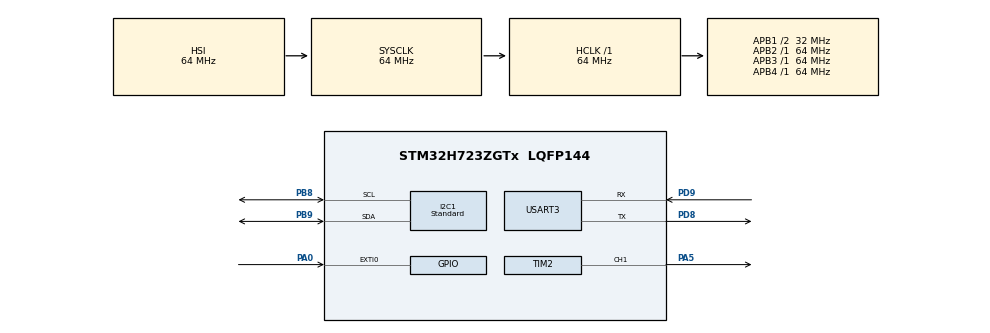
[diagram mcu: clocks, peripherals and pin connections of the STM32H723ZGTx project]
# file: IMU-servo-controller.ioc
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CORTEX_M7.default_mode_Activation=1
I2C1.I2C_Speed_Mode=I2C_Standard
I2C1.Timing=0x00707CBB
Mcu.Family=STM32H7
Mcu.Name=STM32H723ZGTx
Mcu.Package=LQFP144
NVIC.I2C1_ER_IRQn=true\:0\:0\:false\:false\:true\:true\:true\:true
NVIC.I2C1_EV_IRQn=true\:0\:0\:false\:false\:true\:true\:true\:true
NVIC.PriorityGroup=NVIC_PRIORITYGROUP_4
PA0.GPIO_ModeDefaultEXTI=GPIO_MODE_IT_FALLING
PA0.GPIO_PuPd=GPIO_PULLUP
PA0.Signal=GPXTI0
PA5.Signal=S_TIM2_CH1_ETR
PB8.GPIO_Pu=GPIO_PULLUP
PB8.GPIO_Speed=GPIO_SPEED_FREQ_VERY_HIGH
PB8.Mode=I2C
PB8.Signal=I2C1_SCL
PB9.GPIO_Pu=GPIO_PULLUP
PB9.GPIO_Speed=GPIO_SPEED_FREQ_VERY_HIGH
PB9.Mode=I2C
PB9.Signal=I2C1_SDA
PD8.Mode=Asynchronous
PD8.Signal=USART3_TX
PD9.Mode=Asynchronous
PD9.Signal=USART3_RX
ProjectManager.HeapSize=0x200
ProjectManager.StackSize=0x400
ProjectManager.TargetToolchain=STM32CubeIDE
RCC.ADCFreq_Value=129000000
RCC.APB1Freq_Value=32000000
RCC.APB2Freq_Value=64000000
RCC.APB3Freq_Value=64000000
RCC.APB4Freq_Value=64000000
RCC.CortexFreq_Value=64000000
RCC.D2PPRE1=RCC_APB1_DIV2
RCC.HCLKFreq_Value=64000000
RCC.SYSCLKFreq_VALUE=64000000
RCC.USBFreq_Value=129000000
SH.S_TIM2_CH1_ETR.0=TIM2_CH1,PWM Generation1 CH1
TIM2.Channel-PWM\ Generation1\ CH1=TIM_CHANNEL_1
TIM2.Period=1279
TIM2.Prescaler=999
USART3.VirtualMode-Asynchronous=VM_ASYNC
VP_MEMORYMAP_VS_MEMORYMAP.Mode=CurAppReg
VP_TIM2_VS_ClockSourceINT.Mode=Internal
board=custom

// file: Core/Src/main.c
/* USER CODE BEGIN Header */

/*
 * Author : Roche Christopher
 * email  : rochextopher@gmail.com
 *

 *
	MIT License

	Copyright (c) 2024 Roche Christopher

	Permission is hereby granted, free of charge, to any person obtaining a copy
	of this software and associated documentation files (the "Software"), to deal
	in the Software without restriction, including without limitation the rights
	to use, copy, modify, merge, publish, distribute, sublicense, and/or sell
	copies of the Software, and to permit persons to whom the Software is
	furnished to do so, subject to the following conditions:

	The above copyright notice and this permission notice shall be included in all
	copies or substantial portions of the Software.

	THE SOFTWARE IS PROVIDED "AS IS", WITHOUT WARRANTY OF ANY KIND, EXPRESS OR
	IMPLIED, INCLUDING BUT NOT LIMITED TO THE WARRANTIES OF MERCHANTABILITY,
	FITNESS FOR A PARTICULAR PURPOSE AND NONINFRINGEMENT. IN NO EVENT SHALL THE
	AUTHORS OR COPYRIGHT HOLDERS BE LIABLE FOR ANY CLAIM, DAMAGES OR OTHER
	LIABILITY, WHETHER IN AN ACTION OF CONTRACT, TORT OR OTHERWISE, ARISING FROM,
	OUT OF OR IN CONNECTION WITH THE SOFTWARE OR THE USE OR OTHER DEALINGS IN THE
	SOFTWARE.

  */

/* USER CODE END Header */
#include "main.h"

/* USER CODE BEGIN Includes */
#include "mpu_6050.h"
#include "servo_driver.h"
/* USER CODE END Includes */

I2C_HandleTypeDef *mpu6050_i2c_bus;
I2C_HandleTypeDef hi2c1;

TIM_HandleTypeDef htim2;

UART_HandleTypeDef huart3;

/* USER CODE BEGIN PV */

int is_data_ready = 0;
uint8_t int_status;
uint16_t dev_address = 0x68 << 1;
int16_t offset;
char buffer[12];  // Buffer to hold the converted string, enough for 32-bit int
float scaling = 65.5; // 131 65.5 32.8 16.4
float pitch;
float dt;
uint16_t fifo_count;

Servo servo;

typedef struct GyroOrientation{
	float roll; // x
	float pitch; // y
	float yaw; // z
}GyroOrientation;

/* USER CODE END PV */

void SystemClock_Config(void);
static void MPU_Config(void);
static void MX_GPIO_Init(void);
static void MX_I2C1_Init(void);
static void MX_USART3_UART_Init(void);
static void MX_TIM2_Init(void);
/* USER CODE BEGIN PFP */

void data_ready_handler(void);

/* USER CODE END PFP */

/* USER CODE BEGIN 0 */

void orient_servo(int pitch){
	if(pitch < -90){
		pitch = -90;
	}
	else if(pitch > 90){
		pitch = 90;
	}
	int deg = pitch + 90;
	rotate_servo(&servo, deg);
}

void data_ready_handler(){
	is_data_ready = 0;
	fifo_count = get_fifo_count();
	while(fifo_count < 2){
		fifo_count = get_fifo_count();
		HAL_Delay(3); // Wait for sometime before the next fifo count read. If done consecutively without delay, MPU6050 freezes.
	}

	/* calculate the angle */
	while(fifo_count != 0){
		int16_t gyrox_raw = get_unified_data_from_fifo();
		// cancel out the offset
		gyrox_raw -= offset;
		// scale the data into degrees
		gyrox_raw /= scaling;
		//delta_angle = (float)((int)(delta_angle * 10000))/10000;

		float delta_angle = gyrox_raw * dt;
		pitch += delta_angle;

		fifo_count = get_fifo_count();
		HAL_Delay(1);

		//sprintf(buffer, "\n%d %f", gyrox_raw, pitch);  // Convert float to string
		//HAL_UART_Transmit(&huart3, buffer, strlen(buffer), HAL_MAX_DELAY);
	}

	// read the interrupt status register
	orient_servo((int)pitch);
	get_interrupt_status(&int_status);

//	// read the raw gyroscope values
//    int16_t gyrox_raw; // int16_t datatype is a signed 16 bit integer which stores 2's complement values. The gyrosocope data provided by the MPU6050 is a signed 16 bit integer too.
//    //get_gyro_x(&hi2c, &gyrox_raw);
//
//	//int16_t datatype is a signed 16 bit integer which stores 2's complement values. The gyrosocope data provided by the MPU6050 is a signed 16 bit integer too.
//	int16_t gyrox_raw = get_unified_data_from_fifo(&hi2c);
//
//    //sprintf(buffer, "\n%d %d", gyrox_raw, gyrox_buffer);  // Convert float to string
//    //HAL_UART_Transmit(&huart3, buffer, strlen(buffer), HAL_MAX_DELAY);

}

/* USER CODE END 0 */

int main(void)
{

  /* MPU Configuration--------------------------------------------------------*/
  MPU_Config();

  /* MCU Configuration--------------------------------------------------------*/

  /* Reset of all peripherals, Initializes the Flash interface and the Systick. */
  HAL_Init();

  /* Configure the system clock */
  SystemClock_Config();

  /* Initialize all configured peripherals */
  MX_GPIO_Init();
  MX_I2C1_Init();
  MX_USART3_UART_Init();
  MX_TIM2_Init();

  /* USER CODE BEGIN 2 */

  mpu6050_i2c_bus = &hi2c1;

  HAL_TIM_PWM_Start(&htim2, TIM_CHANNEL_1);

  /* Setup the Servo Motor and Initialize it */

  servo.servo_pwm_timer = &htim2;
  servo.current_position = 0;

  // check servo motion
  rotate_servo(&servo, 45);
  HAL_Delay(1000);

  /* Setup the MPU6050 and Initialize it*/

  uint8_t power_management = 0b00000001;
  uint8_t mpu6050_config =   0b00000110; // for DLPF
  //int sampling_rate = 100;
  uint8_t smplrt_div_value = 9;
  dt = ((float)(smplrt_div_value + 1))/(float)gyroscope_output_rate;
  uint8_t interrupt_enable = 0b00000001;
  uint8_t interrupt_pin_config = 0b10100000;
  uint8_t gyro_config = 0b00001000; // for FS_SEL
  uint8_t fifo_enable_config = 0b01000000;
  uint8_t user_control_config;

  // wake the device up, set the power management bits
  write_to_power_mgmt(&power_management);
  // set configuration bits for DLPF
  set_configuration(&mpu6050_config);
  // set gyroscope configuration
  set_gyroscope_configuration(&gyro_config);
  // set the sampling rate
  //set_sampling_rate(&hi2c, sampling_rate);
  set_smplrt_div(&smplrt_div_value);
  // set interrupt configuration bits
  set_interrupt_pin_configuration(&interrupt_pin_config);
  // set interrupt enable bits
  set_interrupt_enable(&interrupt_enable);
  get_interrupt_status(&int_status);

  /* calibrate gyroscope */

  int16_t temp_gyro_x = 0;
  // read out unwanted data.
  for(int i=0; i<10; i++){
	  while(is_data_ready != 1);
	  get_gyro_x(&temp_gyro_x);
	  get_interrupt_status(&int_status);
	  //sprintf(buffer, "\n%d", (int)temp_gyro_x);  // Convert integer to string
	  //HAL_UART_Transmit(&huart3, buffer ,strlen(buffer), HAL_MAX_DELAY);
  }

  int samples = 30;
  offset=0;
  for(int i=0; i<samples; i++){
	  while(is_data_ready != 1);
	  get_gyro_x(&temp_gyro_x);
	  offset += temp_gyro_x;
	  get_interrupt_status(&int_status);
      //sprintf(buffer, "\n%d", (int)temp_gyro_x);  // Convert integer to string
      //HAL_UART_Transmit(&huart3, buffer ,strlen(buffer), HAL_MAX_DELAY);
  }
  offset = offset/samples;

//  sprintf(buffer, "\noff: %d", (int)offset);  // Convert integer to string
//  HAL_UART_Transmit(&huart3, buffer ,strlen(buffer), 1);

  // Enable the FIFO for gyro x and gyro y
  set_fifo_enable(&fifo_enable_config);

  read_from_register(MPU6050_USER_CTRL, &user_control_config);
  // Reset the FIFO in user control
  user_control_config |= (uint8_t)(1 << 2);
  set_user_control(&user_control_config);
  // Enable FIFO in User control
  user_control_config = (uint8_t)(1 << 6);
  set_user_control(&user_control_config);

  /* USER CODE END 2 */

  /* Infinite loop */
  /* USER CODE BEGIN WHILE */
  get_interrupt_status(&int_status);
  pitch = 0.0;
  while (1)
  {
    /* USER CODE END WHILE */

    /* USER CODE BEGIN 3 */
	  if(is_data_ready == 1){
		  data_ready_handler();
//		  sprintf(buffer, "\n%f", pitch);
//		  HAL_UART_Transmit(&huart3, buffer, strlen(buffer), HAL_MAX_DELAY);
//		  sprintf(buffer, "\n%f", pitch);  // Convert float to string
//		  HAL_UART_Transmit(&huart3, buffer, strlen(buffer), 1);
	  }
	  if(hi2c1.State != HAL_I2C_STATE_READY){
		  Error_Handler();
	  }

  }
  /* USER CODE END 3 */
}

void SystemClock_Config(void)
{
  RCC_OscInitTypeDef RCC_OscInitStruct = {0};
  RCC_ClkInitTypeDef RCC_ClkInitStruct = {0};

  /** Supply configuration update enable
  */
  HAL_PWREx_ConfigSupply(PWR_LDO_SUPPLY);

  /** Configure the main internal regulator output voltage
  */
  __HAL_PWR_VOLTAGESCALING_CONFIG(PWR_REGULATOR_VOLTAGE_SCALE3);

  while(!__HAL_PWR_GET_FLAG(PWR_FLAG_VOSRDY)) {}

  /** Initializes the RCC Oscillators according to the specified parameters
  * in the RCC_OscInitTypeDef structure.
  */
  RCC_OscInitStruct.OscillatorType = RCC_OSCILLATORTYPE_HSI;
  RCC_OscInitStruct.HSIState = RCC_HSI_DIV1;
  RCC_OscInitStruct.HSICalibrationValue = 64;
  RCC_OscInitStruct.PLL.PLLState = RCC_PLL_NONE;
  if (HAL_RCC_OscConfig(&RCC_OscInitStruct) != HAL_OK)
  {
    Error_Handler();
  }

  /** Initializes the CPU, AHB and APB buses clocks
  */
  RCC_ClkInitStruct.ClockType = RCC_CLOCKTYPE_HCLK|RCC_CLOCKTYPE_SYSCLK
                              |RCC_CLOCKTYPE_PCLK1|RCC_CLOCKTYPE_PCLK2
                              |RCC_CLOCKTYPE_D3PCLK1|RCC_CLOCKTYPE_D1PCLK1;
  RCC_ClkInitStruct.SYSCLKSource = RCC_SYSCLKSOURCE_HSI;
  RCC_ClkInitStruct.SYSCLKDivider = RCC_SYSCLK_DIV1;
  RCC_ClkInitStruct.AHBCLKDivider = RCC_HCLK_DIV1;
  RCC_ClkInitStruct.APB3CLKDivider = RCC_APB3_DIV1;
  RCC_ClkInitStruct.APB1CLKDivider = RCC_APB1_DIV2;
  RCC_ClkInitStruct.APB2CLKDivider = RCC_APB2_DIV1;
  RCC_ClkInitStruct.APB4CLKDivider = RCC_APB4_DIV1;

  if (HAL_RCC_ClockConfig(&RCC_ClkInitStruct, FLASH_LATENCY_1) != HAL_OK)
  {
    Error_Handler();
  }
}

static void MX_I2C1_Init(void)
{

  hi2c1.Instance = I2C1;
  hi2c1.Init.Timing = 0x00707CBB;
  hi2c1.Init.OwnAddress1 = 0;
  hi2c1.Init.AddressingMode = I2C_ADDRESSINGMODE_7BIT;
  hi2c1.Init.DualAddressMode = I2C_DUALADDRESS_DISABLE;
  hi2c1.Init.OwnAddress2 = 0;
  hi2c1.Init.OwnAddress2Masks = I2C_OA2_NOMASK;
  hi2c1.Init.GeneralCallMode = I2C_GENERALCALL_DISABLE;
  hi2c1.Init.NoStretchMode = I2C_NOSTRETCH_DISABLE;
  if (HAL_I2C_Init(&hi2c1) != HAL_OK)
  {
    Error_Handler();
  }

  /** Configure Analogue filter
  */
  if (HAL_I2CEx_ConfigAnalogFilter(&hi2c1, I2C_ANALOGFILTER_ENABLE) != HAL_OK)
  {
    Error_Handler();
  }

  /** Configure Digital filter
  */
  if (HAL_I2CEx_ConfigDigitalFilter(&hi2c1, 0) != HAL_OK)
  {
    Error_Handler();
  }

}

static void MX_TIM2_Init(void)
{

  TIM_ClockConfigTypeDef sClockSourceConfig = {0};
  TIM_MasterConfigTypeDef sMasterConfig = {0};
  TIM_OC_InitTypeDef sConfigOC = {0};

  htim2.Instance = TIM2;
  htim2.Init.Prescaler = 999;
  htim2.Init.CounterMode = TIM_COUNTERMODE_UP;
  htim2.Init.Period = 1279;
  htim2.Init.ClockDivision = TIM_CLOCKDIVISION_DIV1;
  htim2.Init.AutoReloadPreload = TIM_AUTORELOAD_PRELOAD_DISABLE;
  if (HAL_TIM_Base_Init(&htim2) != HAL_OK)
  {
    Error_Handler();
  }
  sClockSourceConfig.ClockSource = TIM_CLOCKSOURCE_INTERNAL;
  if (HAL_TIM_ConfigClockSource(&htim2, &sClockSourceConfig) != HAL_OK)
  {
    Error_Handler();
  }
  if (HAL_TIM_PWM_Init(&htim2) != HAL_OK)
  {
    Error_Handler();
  }
  sMasterConfig.MasterOutputTrigger = TIM_TRGO_RESET;
  sMasterConfig.MasterSlaveMode = TIM_MASTERSLAVEMODE_DISABLE;
  if (HAL_TIMEx_MasterConfigSynchronization(&htim2, &sMasterConfig) != HAL_OK)
  {
    Error_Handler();
  }
  sConfigOC.OCMode = TIM_OCMODE_PWM1;
  sConfigOC.Pulse = 0;
  sConfigOC.OCPolarity = TIM_OCPOLARITY_HIGH;
  sConfigOC.OCFastMode = TIM_OCFAST_DISABLE;
  if (HAL_TIM_PWM_ConfigChannel(&htim2, &sConfigOC, TIM_CHANNEL_1) != HAL_OK)
  {
    Error_Handler();
  }
  HAL_TIM_MspPostInit(&htim2);

}

static void MX_USART3_UART_Init(void)
{

  huart3.Instance = USART3;
  huart3.Init.BaudRate = 115200;
  huart3.Init.WordLength = UART_WORDLENGTH_8B;
  huart3.Init.StopBits = UART_STOPBITS_1;
  huart3.Init.Parity = UART_PARITY_NONE;
  huart3.Init.Mode = UART_MODE_TX_RX;
  huart3.Init.HwFlowCtl = UART_HWCONTROL_NONE;
  huart3.Init.OverSampling = UART_OVERSAMPLING_16;
  huart3.Init.OneBitSampling = UART_ONE_BIT_SAMPLE_DISABLE;
  huart3.Init.ClockPrescaler = UART_PRESCALER_DIV1;
  huart3.AdvancedInit.AdvFeatureInit = UART_ADVFEATURE_NO_INIT;
  if (HAL_UART_Init(&huart3) != HAL_OK)
  {
    Error_Handler();
  }
  if (HAL_UARTEx_SetTxFifoThreshold(&huart3, UART_TXFIFO_THRESHOLD_1_8) != HAL_OK)
  {
    Error_Handler();
  }
  if (HAL_UARTEx_SetRxFifoThreshold(&huart3, UART_RXFIFO_THRESHOLD_1_8) != HAL_OK)
  {
    Error_Handler();
  }
  if (HAL_UARTEx_DisableFifoMode(&huart3) != HAL_OK)
  {
    Error_Handler();
  }
  /* USER CODE BEGIN USART3_Init 2 */
  //uint8_t msg[] = "\nUSART Initialization Done";
  //HAL_UART_Transmit(&huart3, msg, sizeof(msg), 1);

  /* USER CODE END USART3_Init 2 */

}

static void MX_GPIO_Init(void)
{
  GPIO_InitTypeDef GPIO_InitStruct = {0};

  /* GPIO Ports Clock Enable */
  __HAL_RCC_GPIOA_CLK_ENABLE();
  __HAL_RCC_GPIOD_CLK_ENABLE();
  __HAL_RCC_GPIOB_CLK_ENABLE();

  /*Configure GPIO pin : PA0 */
  GPIO_InitStruct.Pin = GPIO_PIN_0;
  GPIO_InitStruct.Mode = GPIO_MODE_IT_FALLING;
  GPIO_InitStruct.Pull = GPIO_PULLUP;
  HAL_GPIO_Init(GPIOA, &GPIO_InitStruct);

/* USER CODE BEGIN MX_GPIO_Init_2 */

 /* Setup the interrupt pin that is connected to the DATA_RDY pin in the MPU6050 */

 /* Setup the NVIC table */
  HAL_NVIC_SetPriority(EXTI0_IRQn, 2, 0); // PA0 is connected to EXTI0 IRQ
  HAL_NVIC_EnableIRQ(EXTI0_IRQn);

/* USER CODE END MX_GPIO_Init_2 */
}

/* USER CODE BEGIN 4 */

/* Define the ISR for PA0*/
void EXTI0_IRQHandler(){
	HAL_GPIO_EXTI_IRQHandler(GPIO_PIN_0);
}

void HAL_GPIO_EXTI_Callback(uint16_t GPIO_Pin){
	if(GPIO_Pin == GPIO_PIN_0){
		is_data_ready = 1;
	}
}

/* USER CODE END 4 */

 /* MPU Configuration */

void MPU_Config(void)
{
  MPU_Region_InitTypeDef MPU_InitStruct = {0};

  /* Disables the MPU */
  HAL_MPU_Disable();

  /** Initializes and configures the Region and the memory to be protected
  */
  MPU_InitStruct.Enable = MPU_REGION_ENABLE;
  MPU_InitStruct.Number = MPU_REGION_NUMBER0;
  MPU_InitStruct.BaseAddress = 0x0;
  MPU_InitStruct.Size = MPU_REGION_SIZE_4GB;
  MPU_InitStruct.SubRegionDisable = 0x87;
  MPU_InitStruct.TypeExtField = MPU_TEX_LEVEL0;
  MPU_InitStruct.AccessPermission = MPU_REGION_NO_ACCESS;
  MPU_InitStruct.DisableExec = MPU_INSTRUCTION_ACCESS_DISABLE;
  MPU_InitStruct.IsShareable = MPU_ACCESS_SHAREABLE;
  MPU_InitStruct.IsCacheable = MPU_ACCESS_NOT_CACHEABLE;
  MPU_InitStruct.IsBufferable = MPU_ACCESS_NOT_BUFFERABLE;

  HAL_MPU_ConfigRegion(&MPU_InitStruct);
  /* Enables the MPU */
  HAL_MPU_Enable(MPU_PRIVILEGED_DEFAULT);

}

void Error_Handler(void)
{
  __disable_irq();
  while (1)
  {
  }
}
